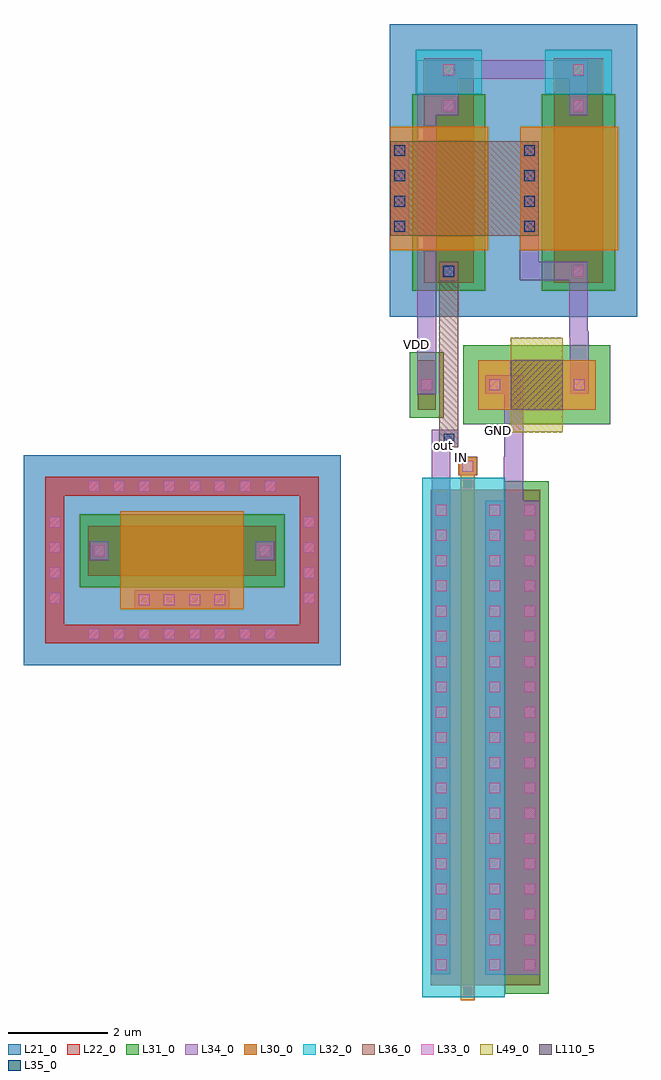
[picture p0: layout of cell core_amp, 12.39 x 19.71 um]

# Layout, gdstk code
from math import pi, radians
import gdstk
lib = gdstk.Library(unit=1e-6, precision=5e-09)
def R(c, l, rs):  # rectangles x0, y0, x1, y1
    for r in rs: c.add(gdstk.rectangle(r[:2], r[2:], *l))
def A(c, l, x, y, w, h, nx, ny, dx, dy):  # array of equal rectangles
    R(c, l, [(x+i*dx, y+j*dy, x+i*dx+w, y+j*dy+h) for i in range(nx) for j in range(ny)])
def P(c, l, *ps):  # polygons
    for p in ps: c.add(gdstk.Polygon(p, *l))
L21_0 = (21, 0)
L22_0 = (22, 0)
L30_0 = (30, 0)
L31_0 = (31, 0)
L32_0 = (32, 0)
L33_0 = (33, 0)
L34_0 = (34, 0)
L35_0 = (35, 0)
L36_0 = (36, 0)
L49_0 = (49, 0)
L110_5 = (110, 5)

nfet = lib.new_cell('nfet')
R(nfet, L22_0, [(-0.42,0,0,10), (0,0,0.66,10), (0.66,0,1.08,10), (1.08,0,1.79,10)])
R(nfet, L30_0, [(0.19,-0.3,0.47,10.3), (0.15,10.3,0.51,10.66)])
R(nfet, L31_0, [(1.08,-0.17,1.96,10.17)])
R(nfet, L32_0, [(-0.59,-0.24,1.08,10.24)])
A(nfet, L33_0, -0.32, 0.3, 0.22, 0.22, 1, 19, 0, 0.51)
A(nfet, L33_0, 0.76, 0.3, 0.22, 0.22, 1, 19, 0, 0.51)
A(nfet, L33_0, 1.47, 0.3, 0.22, 0.22, 1, 19, 0, 0.51)
R(nfet, L33_0, [(0.22,10.37,0.44,10.59)])
R(nfet, L34_0, [(-0.4,0.22,-0.02,9.78), (0.68,0.22,1.06,9.78), (1.39,0.22,1.77,9.78), (0.14,10.29,0.52,10.67)])
nfet.add(gdstk.Label('G', (0.33,10.48), layer=34, texttype=10))
nfet.add(gdstk.Label('B', (1.58,5), layer=34, texttype=10))

pfet = lib.new_cell('pfet')
R(pfet, L21_0, [(-1.15,-0.69,4.76,1.69)])
R(pfet, L22_0, [(-0.46,0,0,1), (0,0,2.88,1), (2.88,0,3.34,1), (3.34,0,4.07,1)])
R(pfet, L30_0, [(0.19,-0.3,2.69,1.3), (0.19,1.3,2.69,1.68)])
R(pfet, L31_0, [(-0.63,-0.24,3.34,1.24)])
R(pfet, L32_0, [(3.34,-0.17,4.24,1.17)])
A(pfet, L33_0, 0.565, 1.38, 0.22, 0.22, 4, 1, 0.51, 0)
R(pfet, L33_0, [(-0.34,0.39,-0.12,0.61), (3,0.39,3.22,0.61), (3.73,0.39,3.95,0.61)])
R(pfet, L34_0, [(-0.42,0.31,-0.04,0.69), (2.92,0.31,3.3,0.69), (3.65,0.31,4.03,0.69), (0.485,1.3,2.395,1.68)])
pfet.add(gdstk.Label('G', (1.44,1.49), layer=34, texttype=10))
pfet.add(gdstk.Label('B', (3.84,0.5), layer=34, texttype=10))

ppolyf_u_resistor = lib.new_cell('ppolyf_u_resistor')
R(ppolyf_u_resistor, L22_0, [(-1.88,0,-1.52,1)])
R(ppolyf_u_resistor, L30_0, [(-0.66,0,1.71,1)])
R(ppolyf_u_resistor, L31_0, [(-0.96,-0.3,2.01,1.3), (-2.04,-0.16,-1.36,1.16)])
R(ppolyf_u_resistor, L33_0, [(-1.81,0.39,-1.59,0.61), (-0.44,0.39,-0.22,0.61), (1.27,0.39,1.49,0.61)])
R(ppolyf_u_resistor, L34_0, [(-1.89,0.31,-1.51,0.69), (-0.52,0.31,-0.14,0.69), (1.19,0.31,1.57,0.69)])
R(ppolyf_u_resistor, L49_0, [(0,-0.455,1.05,1.455)])
R(ppolyf_u_resistor, L110_5, [(0,0,1.05,1)])

pfet_2 = lib.new_cell('pfet$2')
R(pfet_2, L21_0, [(-1.76,-1.43,4.64,2.81)])
R(pfet_2, L22_0, [(-0.46,0,0,1), (0,0,2.88,1), (2.88,0,3.34,1)])
P(pfet_2, L22_0, [(-1.32,-0.99),(-1.32,1.99),(-0.94,1.99),(-0.94,-0.61),(3.82,-0.61),(3.82,1.99),(-1.32,1.99),(-1.32,2.37),(4.2,2.37),(4.2,-0.99)])
R(pfet_2, L30_0, [(0.19,-0.3,2.69,1.3), (0.19,1.3,2.69,1.68)])
R(pfet_2, L31_0, [(-0.63,-0.24,3.51,1.24)])
A(pfet_2, L33_0, -0.455, -0.91, 0.22, 0.22, 8, 2, 0.51, 2.98)
A(pfet_2, L33_0, -1.24, -0.185, 0.22, 0.22, 1, 4, 0, 0.51)
A(pfet_2, L33_0, 3.9, -0.185, 0.22, 0.22, 1, 4, 0, 0.51)
A(pfet_2, L33_0, 0.565, 1.38, 0.22, 0.22, 4, 1, 0.51, 0)
R(pfet_2, L33_0, [(-0.34,0.39,-0.12,0.61), (3,0.39,3.22,0.61)])
R(pfet_2, L34_0, [(-0.42,0.31,-0.04,0.69), (2.92,0.31,3.3,0.69), (0.485,1.3,2.395,1.68)])

core_amp = lib.new_cell('core_amp')
R(core_amp, L21_0, [(2.65,15.335,2.89,21.25)])
R(core_amp, L34_0, [(2.205,2.055,3.295,11.615), (1.115,11.595,1.495,12.705), (2.57,11.615,2.96,12.5), (2.58,12.49,2.96,14.155), (1.115,12.705,1.65,13.055), (2.535,13.775,2.61,14.155), (0.825,14.155,1.205,14.965), (3.905,14.155,4.285,14.93), (3.89,14.93,4.285,15.045), (0.825,14.965,1.205,20.52), (3.89,15.045,4.27,16.07), (2.89,16.075,3.89,16.45), (2.89,16.45,3.28,16.975), (1.175,19.41,1.27,20.52), (3.89,19.785,4.27,20.135), (1.27,19.79,1.65,20.14), (1.65,20.14,3.89,20.52)])
A(core_amp, L35_0, 0.36, 17.055, 0.22, 0.22, 1, 4, 0, 0.51)
A(core_amp, L35_0, 2.98, 17.055, 0.22, 0.22, 1, 4, 0, 0.51)
R(core_amp, L35_0, [(1.355,12.76,1.575,12.98), (1.35,16.15,1.57,16.37)])
R(core_amp, L36_0, [(1.27,12.705,1.65,16.45), (0.28,16.975,3.28,18.885)])
core_amp.add(gdstk.Reference(nfet, (1.515,1.845)))
r = gdstk.Reference(pfet, (4.58,16.49), rotation=pi/2); r.repetition = gdstk.Repetition(1, 1, v1=(0,0), v2=(0,0)); core_amp.add(r)
r = gdstk.Reference(pfet, (1.96,16.49), rotation=pi/2); r.repetition = gdstk.Repetition(1, 1, v1=(0,0), v2=(0,0)); core_amp.add(r)
r = gdstk.Reference(ppolyf_u_resistor, (2.715,13.465)); r.repetition = gdstk.Repetition(1, 1, v1=(0,0), v2=(0,0)); core_amp.add(r)
r = gdstk.Reference(pfet_2, (-2.485,11.115), rotation=pi); r.repetition = gdstk.Repetition(1, 1, v1=(0,0), v2=(0,0)); core_amp.add(r)
core_amp.add(gdstk.Label('VDD', (0.815,14.785), layer=34, texttype=10))
core_amp.add(gdstk.Label('GND', (2.465,13.035), layer=34, texttype=10))
core_amp.add(gdstk.Label('IN', (1.725,12.505), layer=34, texttype=10))
core_amp.add(gdstk.Label('out', (1.345,12.745), layer=34, texttype=10))

lib.write_gds('core_amp.gds')
